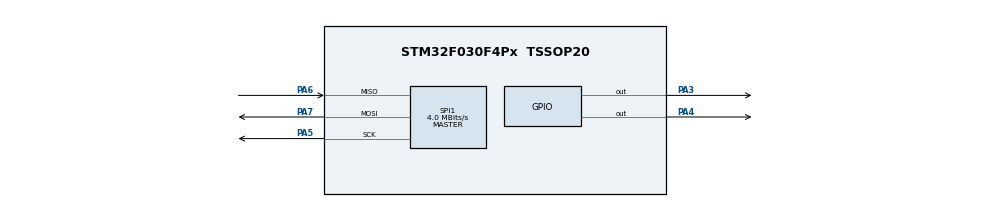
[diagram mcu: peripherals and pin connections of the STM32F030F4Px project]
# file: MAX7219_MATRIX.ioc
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Mcu.Family=STM32F0
Mcu.Name=STM32F030F4Px
Mcu.Package=TSSOP20
PA13.Mode=Serial_Wire
PA13.Signal=SYS_SWDIO
PA14.Mode=Serial_Wire
PA14.Signal=SYS_SWCLK
PA3.Signal=GPIO_Output
PA4.Signal=GPIO_Output
PA5.Mode=Full_Duplex_Master
PA5.Signal=SPI1_SCK
PA6.Mode=Full_Duplex_Master
PA6.Signal=SPI1_MISO
PA7.Mode=Full_Duplex_Master
PA7.Signal=SPI1_MOSI
PF0-OSC_IN.Mode=HSE-External-Oscillator
PF0-OSC_IN.Signal=RCC_OSC_IN
PF1-OSC_OUT.Mode=HSE-External-Oscillator
PF1-OSC_OUT.Signal=RCC_OSC_OUT
ProjectManager.HeapSize=0x200
ProjectManager.StackSize=0x400
ProjectManager.TargetToolchain=MDK-ARM V4
RCC.SYSCLKSource=RCC_SYSCLKSOURCE_HSE
SPI1.CalculateBaudRate=4.0 MBits/s
SPI1.DataSize=SPI_DATASIZE_8BIT
SPI1.Direction=SPI_DIRECTION_2LINES
SPI1.Mode=SPI_MODE_MASTER
SPI1.VirtualType=VM_MASTER
board=custom

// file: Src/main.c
/* USER CODE BEGIN Header */
/**
  ******************************************************************************
  * @file           : main.c
  * @brief          : Main program body
  ******************************************************************************
  ** This notice applies to any and all portions of this file
  * that are not between comment pairs USER CODE BEGIN and
  * USER CODE END. Other portions of this file, whether
  * inserted by the user or by software development tools
  * are owned by their respective copyright owners.
  *
  * COPYRIGHT(c) 2019 STMicroelectronics
  *
  * Redistribution and use in source and binary forms, with or without modification,
  * are permitted provided that the following conditions are met:
  *   1. Redistributions of source code must retain the above copyright notice,
  *      this list of conditions and the following disclaimer.
  *   2. Redistributions in binary form must reproduce the above copyright notice,
  *      this list of conditions and the following disclaimer in the documentation
  *      and/or other materials provided with the distribution.
  *   3. Neither the name of STMicroelectronics nor the names of its contributors
  *      may be used to endorse or promote products derived from this software
  *      without specific prior written permission.
  *
  * THIS SOFTWARE IS PROVIDED BY THE COPYRIGHT HOLDERS AND CONTRIBUTORS "AS IS"
  * AND ANY EXPRESS OR IMPLIED WARRANTIES, INCLUDING, BUT NOT LIMITED TO, THE
  * IMPLIED WARRANTIES OF MERCHANTABILITY AND FITNESS FOR A PARTICULAR PURPOSE ARE
  * DISCLAIMED. IN NO EVENT SHALL THE COPYRIGHT HOLDER OR CONTRIBUTORS BE LIABLE
  * FOR ANY DIRECT, INDIRECT, INCIDENTAL, SPECIAL, EXEMPLARY, OR CONSEQUENTIAL
  * DAMAGES (INCLUDING, BUT NOT LIMITED TO, PROCUREMENT OF SUBSTITUTE GOODS OR
  * SERVICES; LOSS OF USE, DATA, OR PROFITS; OR BUSINESS INTERRUPTION) HOWEVER
  * CAUSED AND ON ANY THEORY OF LIABILITY, WHETHER IN CONTRACT, STRICT LIABILITY,
  * OR TORT (INCLUDING NEGLIGENCE OR OTHERWISE) ARISING IN ANY WAY OUT OF THE USE
  * OF THIS SOFTWARE, EVEN IF ADVISED OF THE POSSIBILITY OF SUCH DAMAGE.
  *
  ******************************************************************************
  */
/* USER CODE END Header */

#include "main.h"

/* USER CODE BEGIN Includes */
#include "MAX7219_Matrix.h"
#include "MAX7219.h"

/* USER CODE END Includes */

SPI_HandleTypeDef hspi1;

/* USER CODE BEGIN PV */
const uint64_t symbol[] = {
	0x1800183860663c00,
	0x10387cfefeee4400,
	0x060e0c0808281800,
	0x10307efe7e301000,
	0x1018fcfefc181000
};

const uint64_t numbers[] = {
	/* 8     =>      1   row */
	0x3c66666e76663c00, /* 0 */
	0x7e1818181c181800,	/* 1 */
	0x7e060c3060663c00,	/* 2 */
	0x3c66603860663c00,	/* 3 */
	0x30307e3234383000, /* 4 */
	0x3c6660603e067e00, /* 5 */
	0x3c66663e06663c00, /* 6 */
	0x1818183030667e00, /* 7 */
	0x3c66663c66663c00, /* 8 */
	0x3c66607c66663c00, /* 9 */
};

const uint64_t Atoz[] = {
	0x6666667e66663c00, /* A */
	0x3e66663e66663e00,	/* B */
	0x3c66060606663c00,
	0x3e66666666663e00,
	0x7e06063e06067e00,
	0x0606063e06067e00,
	0x3c66760606663c00,
	0x6666667e66666600,
	0x3c18181818183c00,
	0x1c36363030307800,
	0x66361e0e1e366600,
	0x7e06060606060600,
	0xc6c6c6d6feeec600,
	0xc6c6e6f6decec600,
	0x3c66666666663c00,
	0x06063e6666663e00,
	0x603c766666663c00,
	0x66361e3e66663e00,
	0x3c66603c06663c00,
	0x18181818185a7e00,
	0x7c66666666666600,
	0x183c666666666600,
	0xc6eefed6c6c6c600,
	0xc6c66c386cc6c600,
	0x1818183c66666600,
	0x7e060c1830607e00,
	0x0000000000000000,
	0x7c667c603c000000,
	0x3e66663e06060600,
	0x3c6606663c000000,
	0x7c66667c60606000,
	0x3c067e663c000000,
	0x0c0c3e0c0c6c3800,
	0x3c607c66667c0000,
	0x6666663e06060600,
	0x3c18181800180000,
	0x1c36363030003000,
	0x66361e3666060600,
	0x1818181818181800,
	0xd6d6feeec6000000,
	0x6666667e3e000000,
	0x3c6666663c000000,
	0x06063e66663e0000,
	0xf0b03c36363c0000,
	0x060666663e000000,
	0x3e403c027c000000,
	0x1818187e18180000,
	0x7c66666666000000,
	0x183c666600000000,
	0x7cd6d6d6c6000000,
	0x663c183c66000000,
	0x3c607c6666000000, /* y */
	0x3c0c18303c000000  /* z */
};
extern uint8_t FrameBuffer[MAX7219_IC_NUM][8];

/* USER CODE END PV */

void SystemClock_Config(void);
static void MX_GPIO_Init(void);
static void MX_SPI1_Init(void);
/* USER CODE BEGIN PFP */
void change_num_to(unsigned int new_num);

/* USER CODE END PFP */

int main(void)
{
  /* USER CODE BEGIN 1 */
  unsigned int num = 0;
  /* USER CODE END 1 */

  /* MCU Configuration--------------------------------------------------------*/

  /* Reset of all peripherals, Initializes the Flash interface and the Systick. */
  HAL_Init();

  /* Configure the system clock */
  SystemClock_Config();

  /* Initialize all configured peripherals */
  MX_GPIO_Init();
  MX_SPI1_Init();

  /* Infinite loop */
  /* USER CODE BEGIN WHILE */
	MAX7219_MatrixInit();
	MAX7219_MatrixSetRow64(3, numbers[0]);
	MAX7219_MatrixSetRow64(2, numbers[0]);
	MAX7219_MatrixSetRow64(1, numbers[0]);
	MAX7219_MatrixSetRow64(0, numbers[0]);
	MAX7219_MatrixUpdate();
	HAL_Delay(200);
  while (1)
  {
		change_num_to(num++);
		GPIOA->ODR ^= 1<<4; // Blinking
    /* USER CODE END WHILE */

  }
}

void SystemClock_Config(void)
{
  RCC_OscInitTypeDef RCC_OscInitStruct = {0};
  RCC_ClkInitTypeDef RCC_ClkInitStruct = {0};

  /**Initializes the CPU, AHB and APB busses clocks
  */
  RCC_OscInitStruct.OscillatorType = RCC_OSCILLATORTYPE_HSE;
  RCC_OscInitStruct.HSEState = RCC_HSE_ON;
  RCC_OscInitStruct.PLL.PLLState = RCC_PLL_NONE;
  if (HAL_RCC_OscConfig(&RCC_OscInitStruct) != HAL_OK)
  {
    Error_Handler();
  }
  /**Initializes the CPU, AHB and APB busses clocks
  */
  RCC_ClkInitStruct.ClockType = RCC_CLOCKTYPE_HCLK|RCC_CLOCKTYPE_SYSCLK
                              |RCC_CLOCKTYPE_PCLK1;
  RCC_ClkInitStruct.SYSCLKSource = RCC_SYSCLKSOURCE_HSE;
  RCC_ClkInitStruct.AHBCLKDivider = RCC_SYSCLK_DIV1;
  RCC_ClkInitStruct.APB1CLKDivider = RCC_HCLK_DIV1;

  if (HAL_RCC_ClockConfig(&RCC_ClkInitStruct, FLASH_LATENCY_0) != HAL_OK)
  {
    Error_Handler();
  }
}

static void MX_SPI1_Init(void)
{

  /* SPI1 parameter configuration*/
  hspi1.Instance = SPI1;
  hspi1.Init.Mode = SPI_MODE_MASTER;
  hspi1.Init.Direction = SPI_DIRECTION_2LINES;
  hspi1.Init.DataSize = SPI_DATASIZE_8BIT;
  hspi1.Init.CLKPolarity = SPI_POLARITY_LOW;
  hspi1.Init.CLKPhase = SPI_PHASE_1EDGE;
  hspi1.Init.NSS = SPI_NSS_SOFT;
  hspi1.Init.BaudRatePrescaler = SPI_BAUDRATEPRESCALER_2;
  hspi1.Init.FirstBit = SPI_FIRSTBIT_MSB;
  hspi1.Init.TIMode = SPI_TIMODE_DISABLE;
  hspi1.Init.CRCCalculation = SPI_CRCCALCULATION_DISABLE;
  hspi1.Init.CRCPolynomial = 7;
  hspi1.Init.CRCLength = SPI_CRC_LENGTH_DATASIZE;
  hspi1.Init.NSSPMode = SPI_NSS_PULSE_ENABLE;
  if (HAL_SPI_Init(&hspi1) != HAL_OK)
  {
    Error_Handler();
  }

}

static void MX_GPIO_Init(void)
{
  GPIO_InitTypeDef GPIO_InitStruct = {0};

  /* GPIO Ports Clock Enable */
  __HAL_RCC_GPIOF_CLK_ENABLE();
  __HAL_RCC_GPIOA_CLK_ENABLE();

  /*Configure GPIO pin Output Level */
  HAL_GPIO_WritePin(GPIOA, GPIO_PIN_3|GPIO_PIN_4, GPIO_PIN_RESET);

  /*Configure GPIO pins : PA3 PA4 */
  GPIO_InitStruct.Pin = GPIO_PIN_3|GPIO_PIN_4;
  GPIO_InitStruct.Mode = GPIO_MODE_OUTPUT_PP;
  GPIO_InitStruct.Pull = GPIO_NOPULL;
  GPIO_InitStruct.Speed = GPIO_SPEED_FREQ_LOW;
  HAL_GPIO_Init(GPIOA, &GPIO_InitStruct);

}

/* USER CODE BEGIN 4 */
void change_num_to(unsigned int new_num)
{
	static unsigned int prev_num;
	unsigned int dl0, dl1, dl2, dl3, dn0, dn1, dn2, dn3, i, k;
	dl0 = prev_num - (prev_num / 10)*10;
	dl1 = prev_num /10 - (prev_num / 100)*10;
	dl2 = prev_num /100 - (prev_num / 1000)*10;
	dl3 = prev_num /1000 - (prev_num / 10000)*10;

	dn0 = new_num - (new_num / 10)*10;
	dn1 = new_num /10 - (new_num / 100)*10;
	dn2 = new_num /100 - (new_num / 1000)*10;
	dn3 = new_num /1000 - (new_num / 10000)*10;
	for (k=0;k<8;k++)
	{
			for (i=7;i>=1;i--)
			{
				if (dn0 != dl0)
				{
					FrameBuffer[0][i] = FrameBuffer[0][i-1];
				}
				if (dn1 != dl1)
				{
					FrameBuffer[1][i] = FrameBuffer[1][i-1];
				}
				if (dn2 != dl2)
				{
					FrameBuffer[2][i] = FrameBuffer[2][i-1];
				}
				if (dn3 != dl3)
				{
					FrameBuffer[3][i] = FrameBuffer[3][i-1];
				}
			}
			if (dn0 != dl0)
			{
				FrameBuffer[0][0] = (numbers[dn0] & (((uint64_t)255)<<(8*k)))>>(8*k);
			}
			if (dn1 != dl1)
			{
				FrameBuffer[1][0] = (numbers[dn1] & (((uint64_t)255)<<(8*k)))>>(8*k);
			}
			if (dn2 != dl2)
			{
				FrameBuffer[2][0] = (numbers[dn2] & (((uint64_t)255)<<(8*k)))>>(8*k);
			}
			if (dn3 != dl3)
			{
				FrameBuffer[3][0] = (numbers[dn3] & (((uint64_t)255)<<(8*k)))>>(8*k);
			}

		MAX7219_MatrixUpdate();
		HAL_Delay(125);
	}
	prev_num = new_num;
}
/* USER CODE END 4 */

void Error_Handler(void)
{
}

/************************ (C) COPYRIGHT STMicroelectronics *****END OF FILE****/
